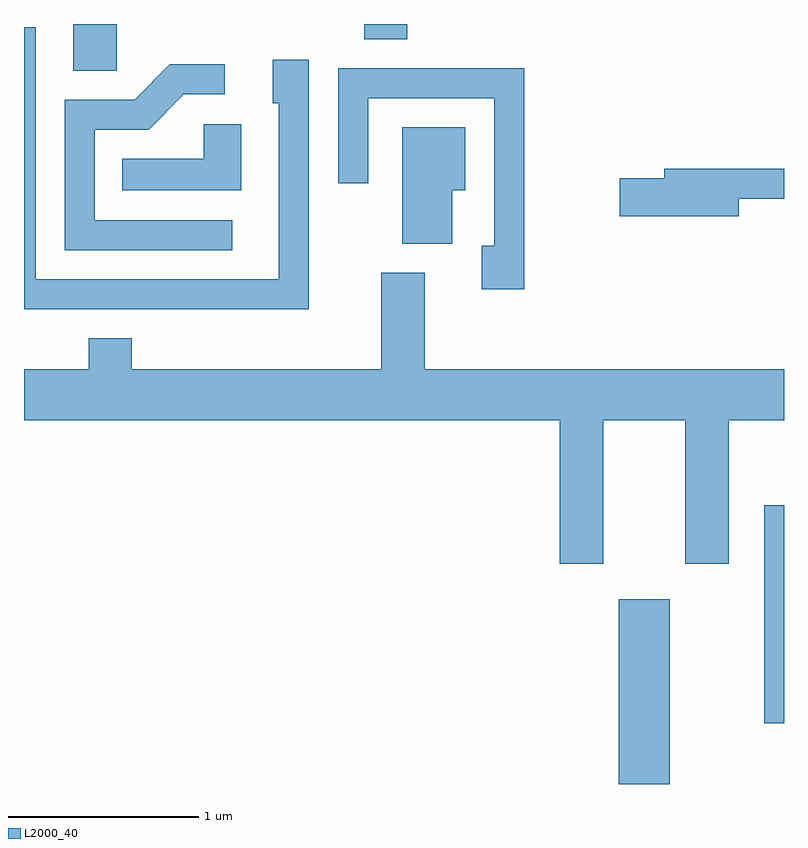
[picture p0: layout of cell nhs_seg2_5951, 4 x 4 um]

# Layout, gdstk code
import gdstk
lib = gdstk.Library(unit=1e-6, precision=1e-09)
def R(c, l, rs):  # rectangles x0, y0, x1, y1
    for r in rs: c.add(gdstk.rectangle(r[:2], r[2:], *l))
def P(c, l, *ps):  # polygons
    for p in ps: c.add(gdstk.Polygon(p, *l))
L2000_40 = (2000, 40)

nhs_seg2_5951 = lib.new_cell('nhs_seg2_5951')
R(nhs_seg2_5951, L2000_40, [(364.741,979.802,365.009,980.774), (365.506,980.121,365.611,981.269), (361.871,983.556,362.099,983.802), (363.401,983.721,363.629,983.802)])
P(nhs_seg2_5951, L2000_40, [(363.109,983.614),(362.921,983.614),(362.921,983.386),(362.951,983.386),(362.951,982.459),(361.674,982.459),(361.674,983.784),(361.611,983.784),(361.611,982.301),(363.109,982.301)],
  [(362.708,982.769),(361.984,982.769),(361.984,983.246),(362.267,983.246),(362.452,983.431),(362.668,983.431),(362.668,983.589),(362.379,983.589),(362.194,983.404),(361.826,983.404),(361.826,982.611),(362.708,982.611)],
  [(364.244,983.569),(363.266,983.569),(363.266,982.963),(363.424,982.963),(363.424,983.411),(364.086,983.411),(364.086,982.634),(364.021,982.634),(364.021,982.406),(364.244,982.406)],
  [(362.754,983.274),(362.556,983.274),(362.556,983.094),(362.128,983.094),(362.128,982.926),(362.754,982.926)],
  [(363.864,982.926),(363.934,982.926),(363.934,983.259),(363.601,983.259),(363.601,982.646),(363.864,982.646)],
  [(365.374,982.881),(365.611,982.881),(365.611,983.039),(364.981,983.039),(364.981,982.989),(364.746,982.989),(364.746,982.791),(365.374,982.791)],
  [(364.659,981.716),(365.091,981.716),(365.091,980.961),(365.319,980.961),(365.319,981.716),(365.611,981.716),(365.611,981.984),(363.719,981.984),(363.719,982.494),(363.491,982.494),(363.491,981.984),(362.179,981.984),(362.179,982.149),(361.951,982.149),(361.951,981.984),(361.611,981.984),(361.611,981.716),(364.431,981.716),(364.431,980.961),(364.659,980.961)])

lib.write_gds('nhs_seg2_5951.gds')
